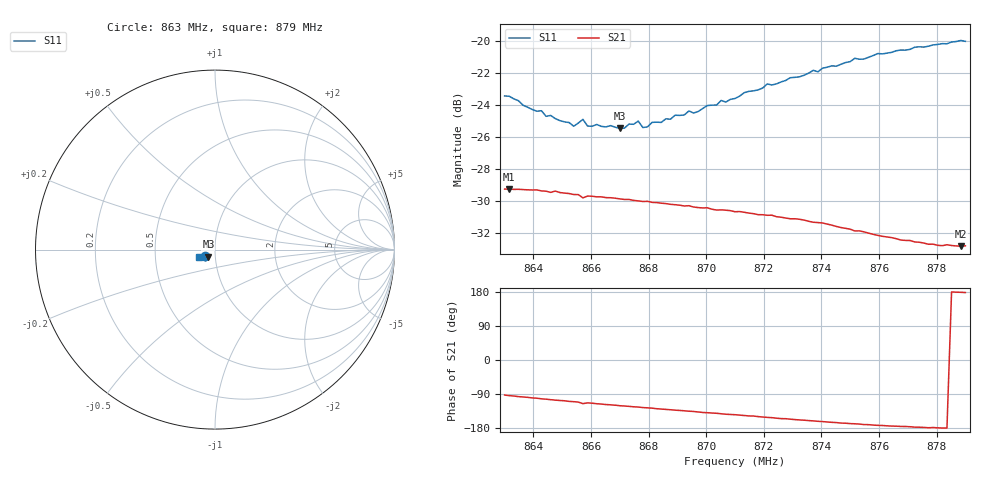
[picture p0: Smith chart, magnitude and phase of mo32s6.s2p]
# HZ S RI R 50
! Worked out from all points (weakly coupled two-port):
!   101 points, 863 MHz to 879 MHz, reference 50 ohm
!   highest |S21| = -29.23 dB at 863.16 MHz (marker M1); lowest = -32.8 dB at 878.84 MHz (marker M2)
!   lowest |S11| = -25.5 dB at 867 MHz (marker M3), VSWR 1.11, Z = 46.3 - j3.58 ohm
!   |S11| at or under -10 dB: start of sweep to end of sweep
!   S12 and S22 are empty: the file has one direction only
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8.63e8  -0.0561 -0.0373  -0.0015 -0.0345  0 0  0 0
8.6316e8  -0.0557 -0.0375  -0.00243 -0.0345  0 0  0 0
8.6396e8  -0.0502 -0.0349  -0.00599 -0.0338  0 0  0 0
8.6428e8  -0.0484 -0.0364  -0.00732 -0.0333  0 0  0 0
8.6444e8  -0.047 -0.0343  -0.00787 -0.0331  0 0  0 0
8.654e8  -0.0413 -0.0351  -0.0113 -0.0312  0 0  0 0
8.6572e8  -0.0417 -0.0387  -0.0138 -0.0293  0 0  0 0
8.6588e8  -0.0398 -0.0369  -0.0129 -0.0302  0 0  0 0
8.67e8  -0.0369 -0.0385  -0.0164 -0.0277  0 0  0 0
8.6764e8  -0.0363 -0.043  -0.0178 -0.0263  0 0  0 0
8.678e8  -0.0344 -0.0412  -0.0184 -0.0257  0 0  0 0
8.6844e8  -0.0336 -0.0444  -0.0198 -0.0241  0 0  0 0
8.6892e8  -0.0342 -0.0476  -0.0208 -0.0228  0 0  0 0
8.694e8  -0.0351 -0.0492  -0.0217 -0.0216  0 0  0 0
8.6956e8  -0.0351 -0.0481  -0.0218 -0.0212  0 0  0 0
8.7052e8  -0.0372 -0.0536  -0.0234 -0.0184  0 0  0 0
8.71e8  -0.0384 -0.0538  -0.0238 -0.0171  0 0  0 0
8.7212e8  -0.044 -0.0587  -0.0251 -0.0137  0 0  0 0
8.7372e8  -0.052 -0.062  -0.0257 -0.00901  0 0  0 0
8.7644e8  -0.0738 -0.055  -0.0243 -0.00238  0 0  0 0
8.7884e8  -0.0919 -0.0401  -0.0229 0.000536  0 0  0 0
8.79e8  -0.0919 -0.0384  -0.023 0.000796  0 0  0 0
